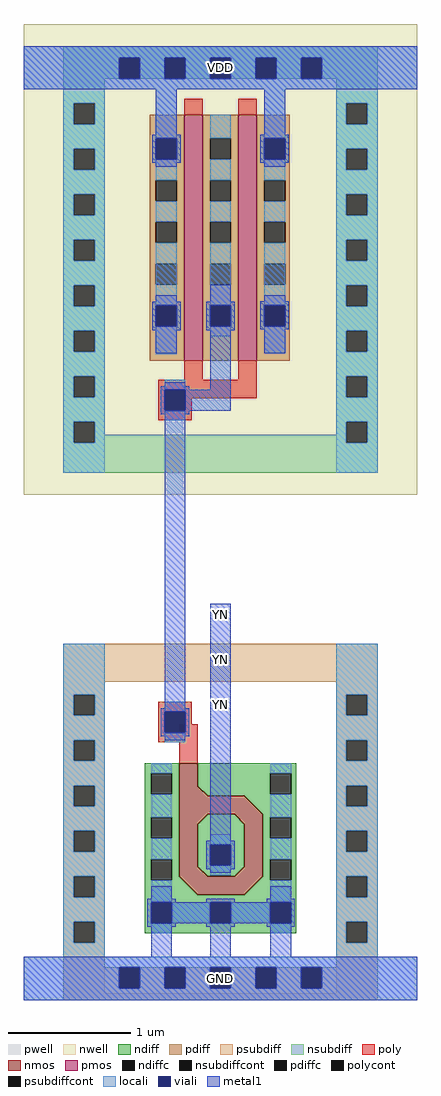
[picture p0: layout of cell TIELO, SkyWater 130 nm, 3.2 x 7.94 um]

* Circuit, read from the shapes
.subckt TIELO YN VDD GND
XM1 GND n1 YN GND sky130_fd_pr__nfet_01v8 w=2.56 l=0.147
XM2 n1 n1 VDD VDD sky130_fd_pr__pfet_01v8 w=2 l=0.15 m=2
.ends

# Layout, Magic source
magic
tech sky130A
magscale 1 2
<< nwell >>
rect 0 822 640 1588
<< pwell >>
rect 155 19 189 53
rect 64 0 576 11
<< pdiffc >>
rect 215 1096 249 1130
rect 303 1096 337 1130
rect 391 1096 425 1130
<< psubdiff >>
rect 132 518 508 580
rect 132 19 155 53
rect 189 19 229 53
rect 263 19 303 53
rect 337 19 377 53
rect 411 19 451 53
rect 485 19 508 53
rect 132 11 508 19
rect 64 0 576 11
<< nsubdiff >>
rect 64 1545 576 1552
rect 132 1533 508 1545
rect 132 1499 155 1533
rect 189 1499 229 1533
rect 263 1499 303 1533
rect 337 1499 377 1533
rect 411 1499 451 1533
rect 485 1499 508 1533
rect 132 858 508 920
<< psubdiffcont >>
rect 155 19 189 53
rect 229 19 263 53
rect 303 19 337 53
rect 377 19 411 53
rect 451 19 485 53
<< nsubdiffcont >>
rect 155 1499 189 1533
rect 229 1499 263 1533
rect 303 1499 337 1533
rect 377 1499 411 1533
rect 451 1499 485 1533
<< poly >>
rect 253 417 283 449
<< locali >>
rect 0 1533 640 1552
rect 0 1499 155 1533
rect 189 1499 229 1533
rect 263 1499 303 1533
rect 337 1499 377 1533
rect 411 1499 451 1533
rect 485 1499 640 1533
rect 0 1482 640 1499
rect 215 1130 249 1232
rect 215 1051 249 1096
rect 303 1130 337 1232
rect 303 1080 337 1096
rect 391 1130 425 1232
rect 391 1052 425 1096
rect 0 53 640 70
rect 0 19 155 53
rect 189 19 229 53
rect 263 19 303 53
rect 337 19 377 53
rect 411 19 451 53
rect 485 19 640 53
rect 0 0 640 19
<< viali >>
rect 155 1499 189 1533
rect 229 1499 263 1533
rect 303 1499 337 1533
rect 377 1499 411 1533
rect 451 1499 485 1533
rect 215 1368 249 1402
rect 391 1368 425 1402
rect 215 1096 249 1130
rect 303 1096 337 1130
rect 391 1096 425 1130
rect 229 959 263 993
rect 229 435 263 469
rect 303 219 337 253
rect 207 125 241 159
rect 303 125 337 159
rect 401 125 435 159
rect 155 19 189 53
rect 229 19 263 53
rect 303 19 337 53
rect 377 19 411 53
rect 451 19 485 53
<< metal1 >>
rect 0 1533 640 1552
rect 0 1499 155 1533
rect 189 1499 229 1533
rect 263 1499 303 1533
rect 337 1499 377 1533
rect 411 1499 451 1533
rect 485 1499 640 1533
rect 0 1482 640 1499
rect 215 1408 249 1482
rect 391 1408 425 1482
rect 209 1402 255 1408
rect 209 1368 215 1402
rect 249 1368 255 1402
rect 209 1362 255 1368
rect 385 1402 431 1408
rect 385 1368 391 1402
rect 425 1368 431 1402
rect 385 1362 431 1368
rect 215 1356 249 1362
rect 391 1356 425 1362
rect 215 1136 249 1147
rect 303 1136 337 1164
rect 391 1137 425 1147
rect 209 1130 255 1136
rect 209 1096 215 1130
rect 249 1096 255 1130
rect 209 1090 255 1096
rect 297 1130 343 1136
rect 297 1096 303 1130
rect 337 1096 343 1130
rect 297 1090 343 1096
rect 385 1130 431 1137
rect 385 1096 391 1130
rect 425 1096 431 1130
rect 385 1091 431 1096
rect 215 1052 249 1090
rect 229 999 263 1005
rect 223 993 269 999
rect 303 993 337 1090
rect 391 1052 425 1091
rect 223 959 229 993
rect 263 959 337 993
rect 223 953 269 959
rect 229 475 263 953
rect 223 469 269 475
rect 223 435 229 469
rect 263 435 269 469
rect 223 429 269 435
rect 229 423 263 429
rect 303 259 337 645
rect 297 253 343 259
rect 297 219 303 253
rect 337 219 343 253
rect 297 213 343 219
rect 303 207 337 213
rect 207 165 241 185
rect 401 165 435 185
rect 201 159 247 165
rect 297 159 343 165
rect 395 159 441 165
rect 201 125 207 159
rect 241 125 303 159
rect 337 125 401 159
rect 435 125 441 159
rect 201 119 247 125
rect 297 119 343 125
rect 395 119 441 125
rect 207 70 241 119
rect 303 70 337 119
rect 401 70 435 119
rect 0 53 640 70
rect 0 19 155 53
rect 189 19 229 53
rect 263 19 303 53
rect 337 19 377 53
rect 411 19 451 53
rect 485 19 640 53
rect 0 0 640 19
use diff_ring_side  diff_ring_side_0
transform 1 0 542 0 1 36
box -87 -34 87 1550
use diff_ring_side  diff_ring_side_1
transform 1 0 98 0 1 36
box -87 -34 87 1550
use nmos_top  nmos_top_0
transform -1 0 443 0 1 109
box 0 0 246 308
use pmos2  pmos2_0
transform 1 0 117 0 1 1440
box 52 -461 352 42
use poly_li1_contact  poly_li1_contact_0
transform 0 1 247 -1 0 977
box -32 -28 34 26
use poly_li1_contact  poly_li1_contact_1
transform 0 1 247 -1 0 453
box -32 -28 34 26
<< labels >>
rlabel metal1 303 611 337 645 1 YN
port 1 nsew signal output
rlabel metal1 303 537 337 571 1 YN
port 1 nsew signal output
rlabel metal1 303 463 337 497 1 YN
port 1 nsew signal output
rlabel metal1 0 1482 640 1552 1 VDD
port 2 nsew power bidirectional abutment
rlabel metal1 0 0 640 70 1 GND
port 3 nsew ground bidirectional abutment
<< properties >>
string FIXED_BBOX 0 0 640 1552
string LEFclass CORE WELLTAP
string LEFsite unitrh
string LEFsymmetry X Y
<< end >>

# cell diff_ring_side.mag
magic
tech sky130A
magscale 1 2
<< nwell >>
rect -87 786 87 1550
<< pwell >>
rect -34 -34 34 544
<< psubdiff >>
rect -34 461 34 544
rect -34 427 -17 461
rect 17 427 34 461
rect -34 387 34 427
rect -34 353 -17 387
rect 17 353 34 387
rect -34 313 34 353
rect -34 279 -17 313
rect 17 279 34 313
rect -34 239 34 279
rect -34 205 -17 239
rect 17 205 34 239
rect -34 165 34 205
rect -34 131 -17 165
rect 17 131 34 165
rect -34 91 34 131
rect -34 57 -17 91
rect 17 57 34 91
rect -34 -34 34 57
<< nsubdiff >>
rect -34 1423 34 1514
rect -34 1389 -17 1423
rect 17 1389 34 1423
rect -34 1349 34 1389
rect -34 1315 -17 1349
rect 17 1315 34 1349
rect -34 1275 34 1315
rect -34 1241 -17 1275
rect 17 1241 34 1275
rect -34 1201 34 1241
rect -34 1167 -17 1201
rect 17 1167 34 1201
rect -34 1127 34 1167
rect -34 1093 -17 1127
rect 17 1093 34 1127
rect -34 1053 34 1093
rect -34 1019 -17 1053
rect 17 1019 34 1053
rect -34 979 34 1019
rect -34 945 -17 979
rect 17 945 34 979
rect -34 905 34 945
rect -34 871 -17 905
rect 17 871 34 905
rect -34 822 34 871
<< psubdiffcont >>
rect -17 427 17 461
rect -17 353 17 387
rect -17 279 17 313
rect -17 205 17 239
rect -17 131 17 165
rect -17 57 17 91
<< nsubdiffcont >>
rect -17 1389 17 1423
rect -17 1315 17 1349
rect -17 1241 17 1275
rect -17 1167 17 1201
rect -17 1093 17 1127
rect -17 1019 17 1053
rect -17 945 17 979
rect -17 871 17 905
<< locali >>
rect -34 1423 34 1514
rect -34 1389 -17 1423
rect 17 1389 34 1423
rect -34 1349 34 1389
rect -34 1315 -17 1349
rect 17 1315 34 1349
rect -34 1275 34 1315
rect -34 1241 -17 1275
rect 17 1241 34 1275
rect -34 1201 34 1241
rect -34 1167 -17 1201
rect 17 1167 34 1201
rect -34 1127 34 1167
rect -34 1093 -17 1127
rect 17 1093 34 1127
rect -34 1053 34 1093
rect -34 1019 -17 1053
rect 17 1019 34 1053
rect -34 979 34 1019
rect -34 945 -17 979
rect 17 945 34 979
rect -34 905 34 945
rect -34 871 -17 905
rect 17 871 34 905
rect -34 822 34 871
rect -34 461 34 544
rect -34 427 -17 461
rect 17 427 34 461
rect -34 387 34 427
rect -34 353 -17 387
rect 17 353 34 387
rect -34 313 34 353
rect -34 279 -17 313
rect 17 279 34 313
rect -34 239 34 279
rect -34 205 -17 239
rect 17 205 34 239
rect -34 165 34 205
rect -34 131 -17 165
rect 17 131 34 165
rect -34 91 34 131
rect -34 57 -17 91
rect 17 57 34 91
rect -34 -34 34 57
<< metal1 >>
rect -34 1446 34 1514
rect -34 -34 34 34
<< end >>

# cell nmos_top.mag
magic
tech sky130
magscale 1 2
<< nmos >>
tri 144 223 160 239 se
rect 160 223 190 276
tri 54 193 84 223 se
rect 84 193 190 223
rect 54 92 84 193
tri 84 177 100 193 nw
tri 144 177 160 193 ne
tri 84 92 100 108 sw
tri 144 92 160 108 se
rect 160 92 190 193
tri 54 62 84 92 ne
rect 84 62 160 92
tri 160 62 190 92 nw
<< ndiff >>
rect 0 260 160 276
rect 0 226 8 260
rect 42 239 160 260
rect 42 226 144 239
rect 0 223 144 226
tri 144 223 160 239 nw
rect 190 260 246 276
rect 190 226 202 260
rect 236 226 246 260
rect 0 188 54 223
tri 54 193 84 223 nw
rect 0 154 8 188
rect 42 154 54 188
rect 0 120 54 154
rect 0 86 8 120
rect 42 86 54 120
tri 84 177 100 193 se
rect 100 177 144 193
tri 144 177 160 193 sw
rect 84 144 160 177
rect 84 110 106 144
rect 140 110 160 144
rect 84 108 160 110
tri 84 92 100 108 ne
rect 100 92 144 108
tri 144 92 160 108 nw
rect 190 188 246 226
rect 190 154 202 188
rect 236 154 246 188
rect 190 120 246 154
rect 0 62 54 86
tri 54 62 84 92 sw
tri 160 62 190 92 se
rect 190 86 202 120
rect 236 86 246 120
rect 190 62 246 86
rect 0 50 246 62
rect 0 16 8 50
rect 42 16 106 50
rect 140 16 202 50
rect 236 16 246 50
rect 0 0 246 16
<< ndiffc >>
rect 8 226 42 260
rect 202 226 236 260
rect 8 154 42 188
rect 8 86 42 120
rect 106 110 140 144
rect 202 154 236 188
rect 202 86 236 120
rect 8 16 42 50
rect 106 16 140 50
rect 202 16 236 50
<< poly >>
rect 160 276 190 308
<< locali >>
rect 8 260 42 276
rect 8 188 42 226
rect 202 260 236 276
rect 202 188 236 226
rect 8 120 42 154
rect 106 144 140 161
rect 106 94 140 110
rect 202 120 236 154
rect 8 50 42 86
rect 202 50 236 86
rect 42 16 106 50
rect 140 16 202 50
rect 8 0 42 16
rect 202 0 236 16
<< end >>

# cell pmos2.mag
magic
tech sky130A
magscale 1 2
<< nwell >>
rect 52 -436 352 36
<< pmos >>
rect 144 -400 174 0
rect 232 -400 262 0
<< pdiff >>
rect 88 -38 144 0
rect 88 -72 98 -38
rect 132 -72 144 -38
rect 88 -106 144 -72
rect 88 -140 98 -106
rect 132 -140 144 -106
rect 88 -174 144 -140
rect 88 -208 98 -174
rect 132 -208 144 -174
rect 88 -242 144 -208
rect 88 -276 98 -242
rect 132 -276 144 -242
rect 88 -400 144 -276
rect 174 -38 232 0
rect 174 -72 186 -38
rect 220 -72 232 -38
rect 174 -106 232 -72
rect 174 -140 186 -106
rect 220 -140 232 -106
rect 174 -174 232 -140
rect 174 -208 186 -174
rect 220 -208 232 -174
rect 174 -242 232 -208
rect 174 -276 186 -242
rect 220 -276 232 -242
rect 174 -400 232 -276
rect 262 -38 316 0
rect 262 -72 274 -38
rect 308 -72 316 -38
rect 262 -106 316 -72
rect 262 -140 274 -106
rect 308 -140 316 -106
rect 262 -174 316 -140
rect 262 -208 274 -174
rect 308 -208 316 -174
rect 262 -242 316 -208
rect 262 -276 274 -242
rect 308 -276 316 -242
rect 262 -400 316 -276
<< pdiffc >>
rect 98 -72 132 -38
rect 98 -140 132 -106
rect 98 -208 132 -174
rect 98 -276 132 -242
rect 186 -72 220 -38
rect 186 -140 220 -106
rect 186 -208 220 -174
rect 186 -276 220 -242
rect 274 -72 308 -38
rect 274 -140 308 -106
rect 274 -208 308 -174
rect 274 -276 308 -242
<< poly >>
rect 144 0 174 26
rect 232 0 262 26
rect 144 -431 174 -400
rect 232 -431 262 -400
rect 144 -461 262 -431
<< locali >>
rect 98 -38 132 42
rect 98 -106 132 -72
rect 98 -174 132 -140
rect 98 -242 132 -208
rect 98 -293 132 -276
rect 186 -38 220 0
rect 186 -106 220 -72
rect 186 -174 220 -140
rect 186 -242 220 -208
rect 186 -293 220 -276
rect 274 -38 308 42
rect 274 -106 308 -72
rect 274 -174 308 -140
rect 274 -242 308 -208
rect 274 -293 308 -276
<< end >>

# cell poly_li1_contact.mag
magic
tech sky130
<< poly >>
rect -16 8 17 13
rect -16 -9 -8 8
rect 9 -9 17 8
rect -16 -14 17 -9
<< polycont >>
rect -8 -9 9 8
<< locali >>
rect -16 -9 -8 8
rect 9 -9 17 8
<< end >>
